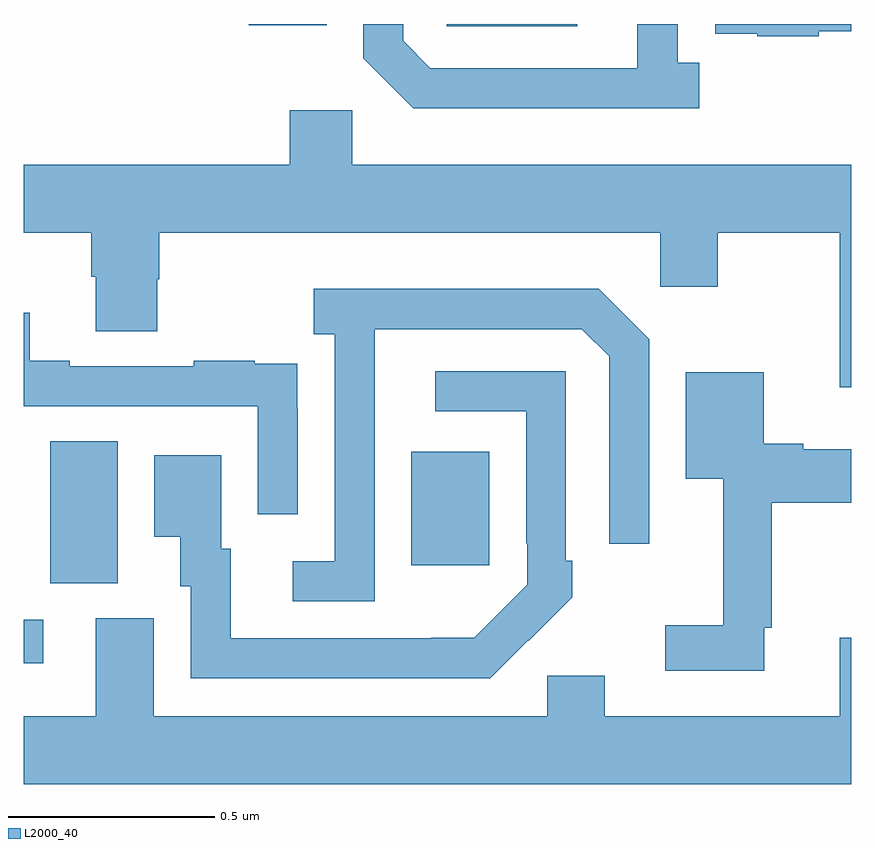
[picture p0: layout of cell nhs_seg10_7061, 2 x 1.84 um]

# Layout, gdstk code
import gdstk
lib = gdstk.Library(unit=1e-6, precision=1e-09)
def R(c, l, rs):  # rectangles x0, y0, x1, y1
    for r in rs: c.add(gdstk.rectangle(r[:2], r[2:], *l))
def P(c, l, *ps):  # polygons
    for p in ps: c.add(gdstk.Polygon(p, *l))
L2000_40 = (2000, 40)

nhs_seg10_7061 = lib.new_cell('nhs_seg10_7061')
R(nhs_seg10_7061, L2000_40, [(199,1285.956,199.048,1286.061), (199.064,1286.149,199.228,1286.492), (199.937,1286.193,200.125,1286.467), (200.022,1287.495,200.338,1287.5), (199.544,1287.497,199.732,1287.5)])
P(nhs_seg10_7061, L2000_40, [(200.632,1287.406),(200.58,1287.406),(200.58,1287.5),(200.483,1287.5),(200.483,1287.393),(199.983,1287.393),(199.917,1287.459),(199.917,1287.5),(199.821,1287.5),(199.821,1287.417),(199.942,1287.296),(200.632,1287.296)],
  [(200.921,1287.483),(201,1287.483),(201,1287.5),(200.671,1287.5),(200.671,1287.477),(200.773,1287.477),(200.773,1287.471),(200.921,1287.471)],
  [(201,1287.16),(199.794,1287.16),(199.794,1287.292),(199.643,1287.292),(199.643,1287.16),(199,1287.16),(199,1286.996),(199.163,1286.996),(199.163,1286.89),(199.175,1286.89),(199.175,1286.758),(199.323,1286.758),(199.323,1286.883),(199.328,1286.883),(199.328,1286.996),(200.538,1286.996),(200.538,1286.865),(200.677,1286.865),(200.677,1286.996),(200.972,1286.996),(200.972,1286.622),(201,1286.622)],
  [(199.848,1286.563),(199.849,1286.563),(199.849,1286.763),(200.349,1286.763),(200.415,1286.697),(200.415,1286.244),(200.511,1286.244),(200.511,1286.739),(200.39,1286.86),(199.701,1286.86),(199.701,1286.75),(199.752,1286.75),(199.752,1286.202),(199.65,1286.202),(199.65,1286.106),(199.848,1286.106)],
  [(199.662,1286.57),(199.661,1286.57),(199.661,1286.679),(199.559,1286.679),(199.559,1286.686),(199.411,1286.686),(199.411,1286.673),(199.111,1286.673),(199.111,1286.686),(199.015,1286.686),(199.015,1286.803),(199,1286.803),(199,1286.577),(199.566,1286.577),(199.566,1286.316),(199.662,1286.316)],
  [(200.219,1286.011),(200.22,1286.01),(200.325,1286.115),(200.325,1286.203),(200.31,1286.203),(200.31,1286.661),(199.995,1286.661),(199.995,1286.565),(200.214,1286.565),(200.214,1286.245),(200.217,1286.245),(200.217,1286.145),(200.089,1286.017),(199.985,1286.017),(199.985,1286.016),(199.501,1286.016),(199.501,1286.232),(199.477,1286.232),(199.477,1286.458),(199.316,1286.458),(199.316,1286.261),(199.379,1286.261),(199.379,1286.142),(199.404,1286.142),(199.404,1285.92),(200.128,1285.92)],
  [(200.789,1286.041),(200.807,1286.041),(200.807,1286.344),(201,1286.344),(201,1286.473),(200.884,1286.473),(200.884,1286.486),(200.788,1286.486),(200.788,1286.659),(200.6,1286.659),(200.6,1286.402),(200.69,1286.402),(200.69,1286.047),(200.55,1286.047),(200.55,1285.938),(200.789,1285.938)],
  [(201,1286.017),(200.972,1286.017),(200.972,1285.828),(200.404,1285.828),(200.404,1285.926),(200.265,1285.926),(200.265,1285.828),(199.315,1285.828),(199.315,1286.064),(199.175,1286.064),(199.175,1285.828),(199,1285.828),(199,1285.664),(201,1285.664)])

lib.write_gds('nhs_seg10_7061.gds')
